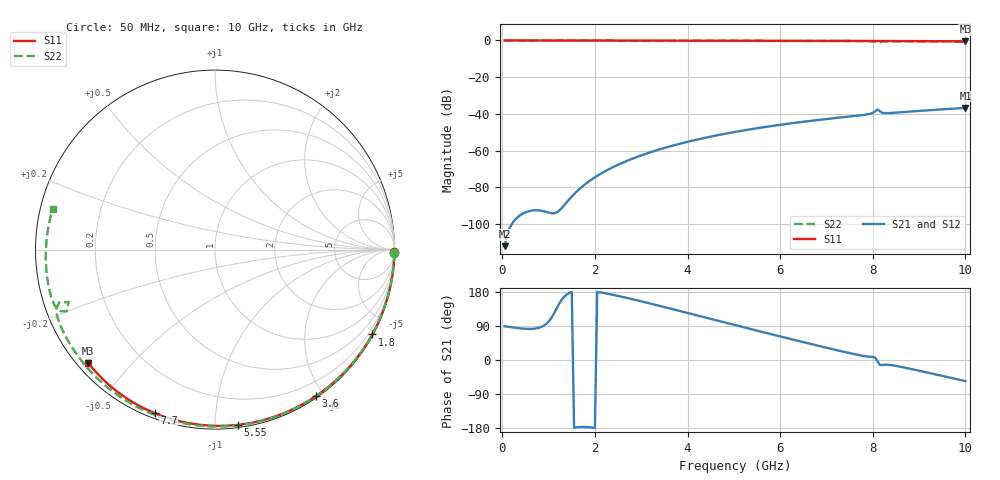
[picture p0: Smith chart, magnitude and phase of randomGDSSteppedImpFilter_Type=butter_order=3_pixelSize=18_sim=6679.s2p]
! freq	dB(S11)	phase(S11)	dB(S12)	phase(S12)
!  dB(S21)	phase(S21)	dB(S22)	phase(S22)
!S-par simulation data
#  GHz  S  DB  R 50
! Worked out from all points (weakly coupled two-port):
!   200 points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, 50 MHz to 10 GHz, reference 50 ohm
!   highest |S21| = -36.73 dB at 10 GHz (marker M1); lowest = -111.9 dB at 50 MHz (marker M2)
!   lowest |S11| = -0.5 dB at 10 GHz (marker M3), VSWR 37.05, Z = 1.55 - j19.1 ohm
!   |S11| at or under -10 dB: nowhere
!   |S22| runs from -1.2 to 0.0 dB; largest |S21 - S12| = 0
!   S11 on the Smith chart (normalised r, x): 50 MHz: open; 1.8 GHz: 0.03, -3.96; 3.6 GHz: 0.02, -1.91; 5.55 GHz: 0.02, -1.14; 7.7 GHz: 0.02, -0.70; 10 GHz: 0.03, -0.38
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0.05  -0.00 -0.8  -111.94 89.2  -111.94 89.2  -0.00 -1.1
0.85  -0.02 -13.5  -92.68 87.7  -92.68 87.7  -0.02 -19.2
1.7  -0.03 -26.8  -80.08 -176.6  -80.08 -176.6  -0.05 -37.9
1.75  -0.04 -27.6  -79.03 -176.6  -79.03 -176.6  -0.05 -39.0
1.8  -0.04 -28.3  -78.03 -176.8  -78.03 -176.8  -0.05 -40.1
2.1  -0.04 -33.0  -72.90 178.8  -72.90 178.8  -0.06 -46.6
2.5  -0.05 -39.0  -67.63 169.1  -67.63 169.1  -0.07 -55.0
2.9  -0.06 -45.1  -63.46 157.8  -63.46 157.8  -0.08 -63.3
3.4  -0.07 -52.4  -59.23 142.8  -59.23 142.8  -0.10 -73.4
3.6  -0.07 -55.4  -57.77 136.6  -57.77 136.6  -0.10 -77.4
4.3  -0.09 -65.4  -53.40 114.8  -53.40 114.8  -0.13 -91.0
5.05  -0.12 -75.8  -49.66 91.4  -49.66 91.4  -0.16 -105.1
5.55  -0.14 -82.6  -47.57 76.0  -47.57 76.0  -0.19 -114.2
6.7  -0.19 -97.7  -43.63 41.1  -43.63 41.1  -0.26 -134.7
7.7  -0.25 -110.3  -40.84 13.0  -40.84 13.0  -0.35 -152.8
8  -0.28 -114.0  -39.40 7.9  -39.40 7.9  -0.53 -159.7
8.1  -0.28 -115.2  -37.55 -2.6  -37.55 -2.6  -1.25 -160.3
8.15  -0.29 -115.8  -38.44 -12.8  -38.44 -12.8  -0.96 -157.3
8.2  -0.29 -116.4  -39.29 -13.3  -39.29 -13.3  -0.64 -158.4
8.35  -0.30 -118.3  -39.53 -12.9  -39.53 -12.9  -0.46 -162.3
9.15  -0.38 -128.0  -38.07 -32.4  -38.07 -32.4  -0.50 -177.8
10  -0.47 -138.2  -36.73 -55.7  -36.73 -55.7  -0.61 165.9
